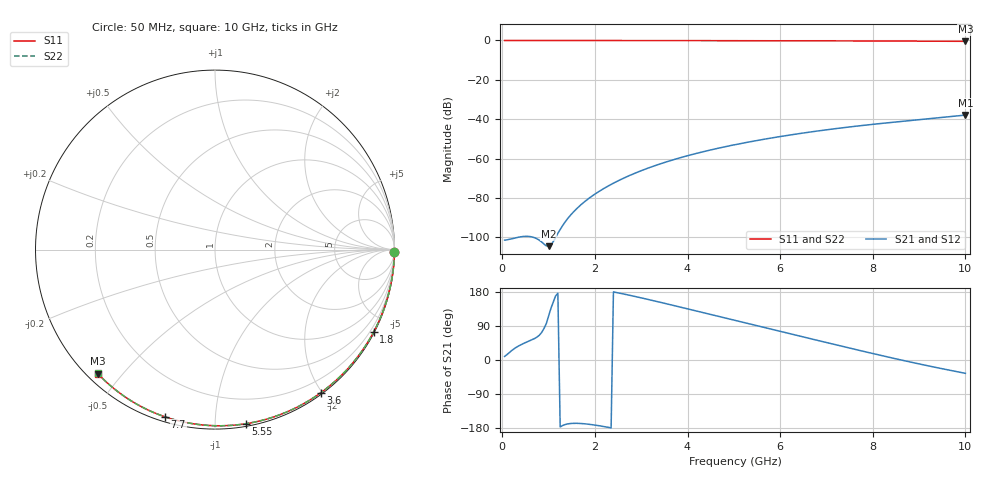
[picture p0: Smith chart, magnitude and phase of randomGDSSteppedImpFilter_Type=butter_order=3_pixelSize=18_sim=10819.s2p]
! freq	dB(S11)	phase(S11)	dB(S12)	phase(S12)
!  dB(S21)	phase(S21)	dB(S22)	phase(S22)
!S-par simulation data
#  GHz  S  DB  R 50
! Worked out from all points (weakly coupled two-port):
!   200 points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, 50 MHz to 10 GHz, reference 50 ohm
!   highest |S21| = -37.89 dB at 10 GHz (marker M1); lowest = -104.4 dB at 1 GHz (marker M2)
!   lowest |S11| = -0.4 dB at 10 GHz (marker M3), VSWR 39.57, Z = 1.5 - j21.5 ohm
!   |S11| at or under -10 dB: nowhere
!   |S22| runs from -0.4 to 0.0 dB; largest |S21 - S12| = 0
!   S11 on the Smith chart (normalised r, x): 50 MHz: open; 1.8 GHz: 0.04, -4.11; 3.6 GHz: 0.02, -1.98; 5.55 GHz: 0.02, -1.19; 7.7 GHz: 0.02, -0.75; 10 GHz: 0.03, -0.43
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0.05  -0.00 -0.8  -101.36 9.4  -101.36 9.4  -0.00 -0.8
0.5  -0.01 -7.7  -99.43 45.9  -99.43 45.9  -0.01 -7.7
1  -0.02 -15.3  -104.43 116.3  -104.43 116.3  -0.02 -15.3
1.75  -0.03 -26.6  -82.37 -168.0  -82.37 -168.0  -0.03 -26.6
1.8  -0.03 -27.4  -81.41 -168.6  -81.41 -168.6  -0.03 -27.4
1.85  -0.04 -28.1  -80.51 -169.3  -80.51 -169.3  -0.04 -28.1
1.9  -0.04 -28.9  -79.64 -170.0  -79.64 -170.0  -0.04 -28.9
2.05  -0.04 -31.1  -77.22 -172.7  -77.22 -172.7  -0.04 -31.1
2.25  -0.04 -34.0  -74.36 -176.8  -74.36 -176.8  -0.04 -34.0
2.65  -0.05 -39.9  -69.58 173.4  -69.58 173.4  -0.05 -39.9
3  -0.06 -45.0  -66.11 164.0  -66.11 164.0  -0.06 -45.0
3.4  -0.07 -50.7  -62.73 152.6  -62.73 152.6  -0.07 -50.7
3.6  -0.07 -53.5  -61.22 146.8  -61.22 146.8  -0.07 -53.5
4.3  -0.09 -63.2  -56.69 126.1  -56.69 126.1  -0.09 -63.2
5.05  -0.11 -73.3  -52.79 103.8  -52.79 103.8  -0.11 -73.3
5.55  -0.13 -79.9  -50.57 88.9  -50.57 88.9  -0.13 -79.9
6.1  -0.15 -86.9  -48.40 72.7  -48.40 72.7  -0.15 -86.9
6.7  -0.18 -94.4  -46.31 54.9  -46.31 54.9  -0.18 -94.4
7.7  -0.24 -106.6  -43.36 25.7  -43.36 25.7  -0.24 -106.6
8.35  -0.29 -114.3  -41.73 7.2  -41.73 7.2  -0.29 -114.3
9.15  -0.36 -123.6  -39.90 -14.2  -39.90 -14.2  -0.36 -123.6
10  -0.44 -133.4  -37.89 -35.2  -37.89 -35.2  -0.44 -133.4
